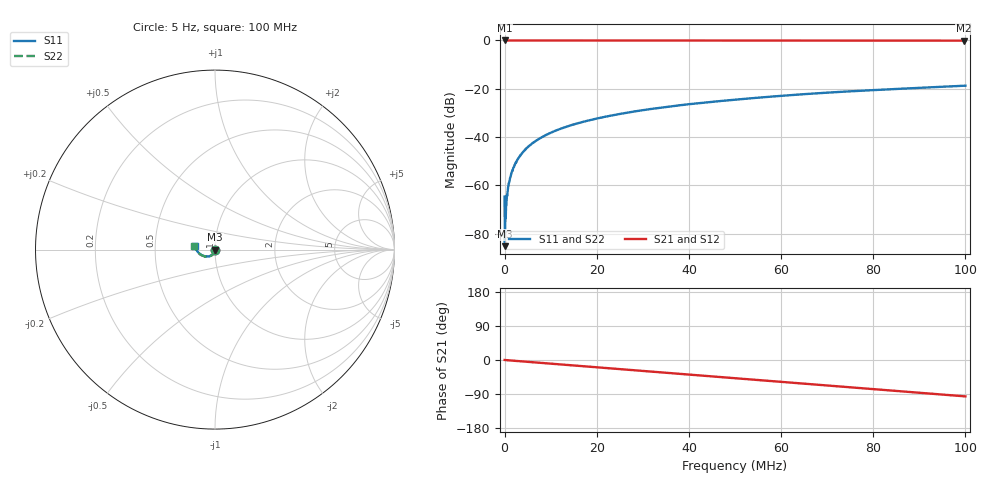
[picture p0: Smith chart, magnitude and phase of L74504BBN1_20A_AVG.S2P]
!Agilent Technologies,E5061B,MY49102235,A.02.00
!Date: Mon Jul 10 16:27:40 2023
!Data & Calibration Information:
!Freq	S11:SOLT2(ON)	S21:SOLT2(ON)	S12:SOLT2(ON)	S22:SOLT2(ON)
# Hz S RI R 50
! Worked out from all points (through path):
!   1600 points, 5 Hz to 100 MHz, reference 50 ohm
!   highest |S21| = 0.02 dB at 5 Hz (marker M1); lowest = -0.1 dB at 99.62 MHz (marker M2)
!   group delay of S21, straight-line fit = 2.67 ns
!   lowest |S11| = -85.1 dB at 62.54 kHz (marker M3), VSWR 1.00, Z = 50 - j0.00289 ohm
!   |S11| at or under -10 dB: start of sweep to end of sweep
!   |S22| runs from -78.6 to -18.7 dB; largest |S21 - S12| = 0.0026
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5  -0.000396 0.000439  1.002 0.00228  1.001 4.34e-06  -9.69e-05 -6.7e-05
62544.08  -4.72e-05 -2.89e-05  0.9999 -0.000826  1 -0.000618  2.22e-05 -0.000123
250161.3  3.86e-05 -0.000207  0.9998 -0.00448  0.9998 -0.0041  3.12e-05 -0.000249
562856.8  0.000122 -0.000596  0.9997 -0.00965  0.9996 -0.00916  6.79e-05 -0.000647
687934.9  -1.34e-05 -0.000821  1 -0.0115  1 -0.0116  -1.71e-05 -0.000763
813013.1  -7.36e-05 -0.000964  1 -0.0138  0.9992 -0.0132  -7.76e-05 -0.000998
1063169  -7.25e-05 -0.00123  1.001 -0.0178  1 -0.018  -3.66e-05 -0.00132
1250787  -9.12e-05 -0.00148  0.9997 -0.0213  0.9992 -0.0207  -4.88e-05 -0.00147
1688560  -4.75e-05 -0.00204  1 -0.0287  0.9996 -0.0281  -6.15e-05 -0.00204
2313951  -0.000115 -0.00282  0.9992 -0.0393  0.9991 -0.0381  -6.41e-05 -0.00287
3689811  -0.000263 -0.00454  0.9982 -0.062  0.9979 -0.0618  -0.000325 -0.00456
5753601  -0.000614 -0.00709  0.9953 -0.0966  0.9952 -0.0963  -0.000665 -0.00702
8692938  -0.00149 -0.0106  0.9892 -0.1455  0.9891 -0.145  -0.00161 -0.0105
1.250782e7  -0.00313 -0.015  0.9778 -0.2084  0.9777 -0.2082  -0.00312 -0.0148
1.669794e7  -0.00564 -0.0195  0.9607 -0.2764  0.9607 -0.2763  -0.0055 -0.0195
2.445279e7  -0.012 -0.0269  0.9168 -0.3987  0.9165 -0.3987  -0.0119 -0.0272
3.333334e7  -0.0219 -0.0336  0.8469 -0.5301  0.847 -0.5299  -0.0216 -0.0341
5.003127e7  -0.0455 -0.0384  0.6667 -0.7428  0.6667 -0.7429  -0.0456 -0.0391
6.672921e7  -0.073 -0.0315  0.4351 -0.8968  0.4349 -0.8964  -0.0729 -0.0324
8.33646e7  -0.0967 -0.0114  0.1707 -0.9801  0.1706 -0.9799  -0.097 -0.0126
9.962477e7  -0.1138 0.0201  -0.0982 -0.9881  -0.0984 -0.9878  -0.1146 0.0182
1e8  -0.1141 0.0209  -0.1044 -0.9876  -0.1046 -0.9871  -0.1149 0.0189
